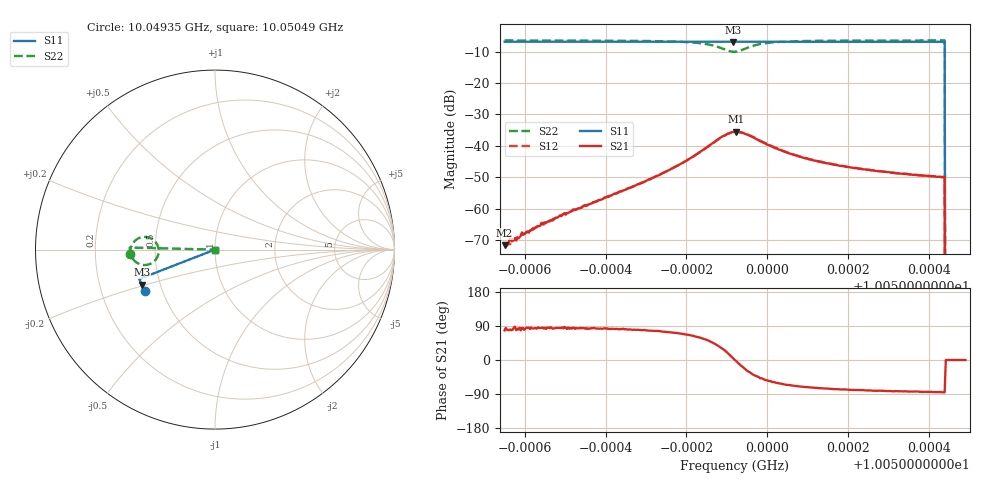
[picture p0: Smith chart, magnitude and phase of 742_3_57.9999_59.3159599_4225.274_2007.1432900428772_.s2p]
#  HZ  S  RI  R  50.00
! Rohde & Schwarz Vector Network Analyzer
! Rohde-Schwarz,ZNB20-2Port,1311601062101988,3.16
! Created: UTC 3/21/2024, 1:23:38 AM
! freq[Hz]  re:S11  im:S11  re:S21  im:S21  re:S12  im:S12  re:S22  im:S22
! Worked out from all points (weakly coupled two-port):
!   401 points, 10.04935 GHz to 10.05049 GHz, reference 50 ohm
!   highest |S21| = -35.53 dB at 10.04992 GHz (marker M1); lowest = -71.6 dB at 10.04935 GHz (marker M2)
!   lowest |S11| = -6.9 dB at 10.04991 GHz (marker M3), VSWR 2.64, Z = 19.7 - j9.65 ohm
!   |S11| at or under -10 dB: 10.05044 GHz to end of sweep
!   |S22| runs from - to -6.5 dB; largest |S21 - S12| = 0.0016
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1.0049349e10  -0.3922 -0.2286  5.5e-05 0.000258  2.74e-05 0.000271  -0.4739 -0.0258
1.0049358e10  -0.3927 -0.2283  5.31e-05 0.000273  1.59e-05 0.000269  -0.4739 -0.0251
1.0049372e10  -0.393 -0.2272  2.47e-05 0.000318  2.23e-05 0.000312  -0.4738 -0.0236
1.0049398e10  -0.3937 -0.2258  7.14e-05 0.000386  3.42e-05 0.000395  -0.4739 -0.0211
1.0049446e10  -0.3953 -0.2229  7.6e-05 0.0006  2.66e-05 0.000558  -0.4735 -0.0164
1.0049541e10  -0.3982 -0.2172  0.000115 0.00104  7.14e-05 0.00104  -0.4723 -0.00555
1.0049732e10  -0.4038 -0.2058  0.000821 0.00333  0.000646 0.00337  -0.462 0.0277
1.0049795e10  -0.4054 -0.202  0.00209 0.00517  0.00175 0.00526  -0.4474 0.0476
1.004984e10  -0.4065 -0.1987  0.0047 0.00715  0.00421 0.00737  -0.4195 0.0655
1.0049883e10  -0.4069 -0.1962  0.011 0.0075  0.0104 0.00826  -0.3591 0.0635
1.0049915e10  -0.4071 -0.1947  0.0165 0.00162  0.0162 0.00296  -0.3142 0.00355
1.004992e10  -0.4072 -0.1946  0.0167 -9.22e-05  0.0165 0.00147  -0.3137 -0.0125
1.0049923e10  -0.4072 -0.1945  0.0167 -0.000775  0.0167 0.000601  -0.3146 -0.0206
1.0049954e10  -0.4084 -0.1935  0.0127 -0.00764  0.0133 -0.00668  -0.3616 -0.0799
1.0049994e10  -0.41 -0.1913  0.00665 -0.00873  0.00747 -0.00827  -0.4207 -0.0807
1.0050046e10  -0.4118 -0.1883  0.00334 -0.00722  0.00389 -0.00704  -0.4521 -0.0584
1.0050112e10  -0.4135 -0.1839  0.00177 -0.00569  0.00214 -0.00563  -0.4656 -0.037
1.0050211e10  -0.4161 -0.1779  0.000872 -0.00439  0.00114 -0.00442  -0.4722 -0.0165
1.0050303e10  -0.4184 -0.1725  0.00054 -0.00376  0.000761 -0.00375  -0.474 -0.0035
1.0050434e10  -0.4213 -0.1642  0.000253 -0.00317  0.000475 -0.00317  -0.4747 0.0108
1.0050448e10  0 0  0 0  0 0  0 0
1.0050491e10  0 0  0 0  0 0  0 0
